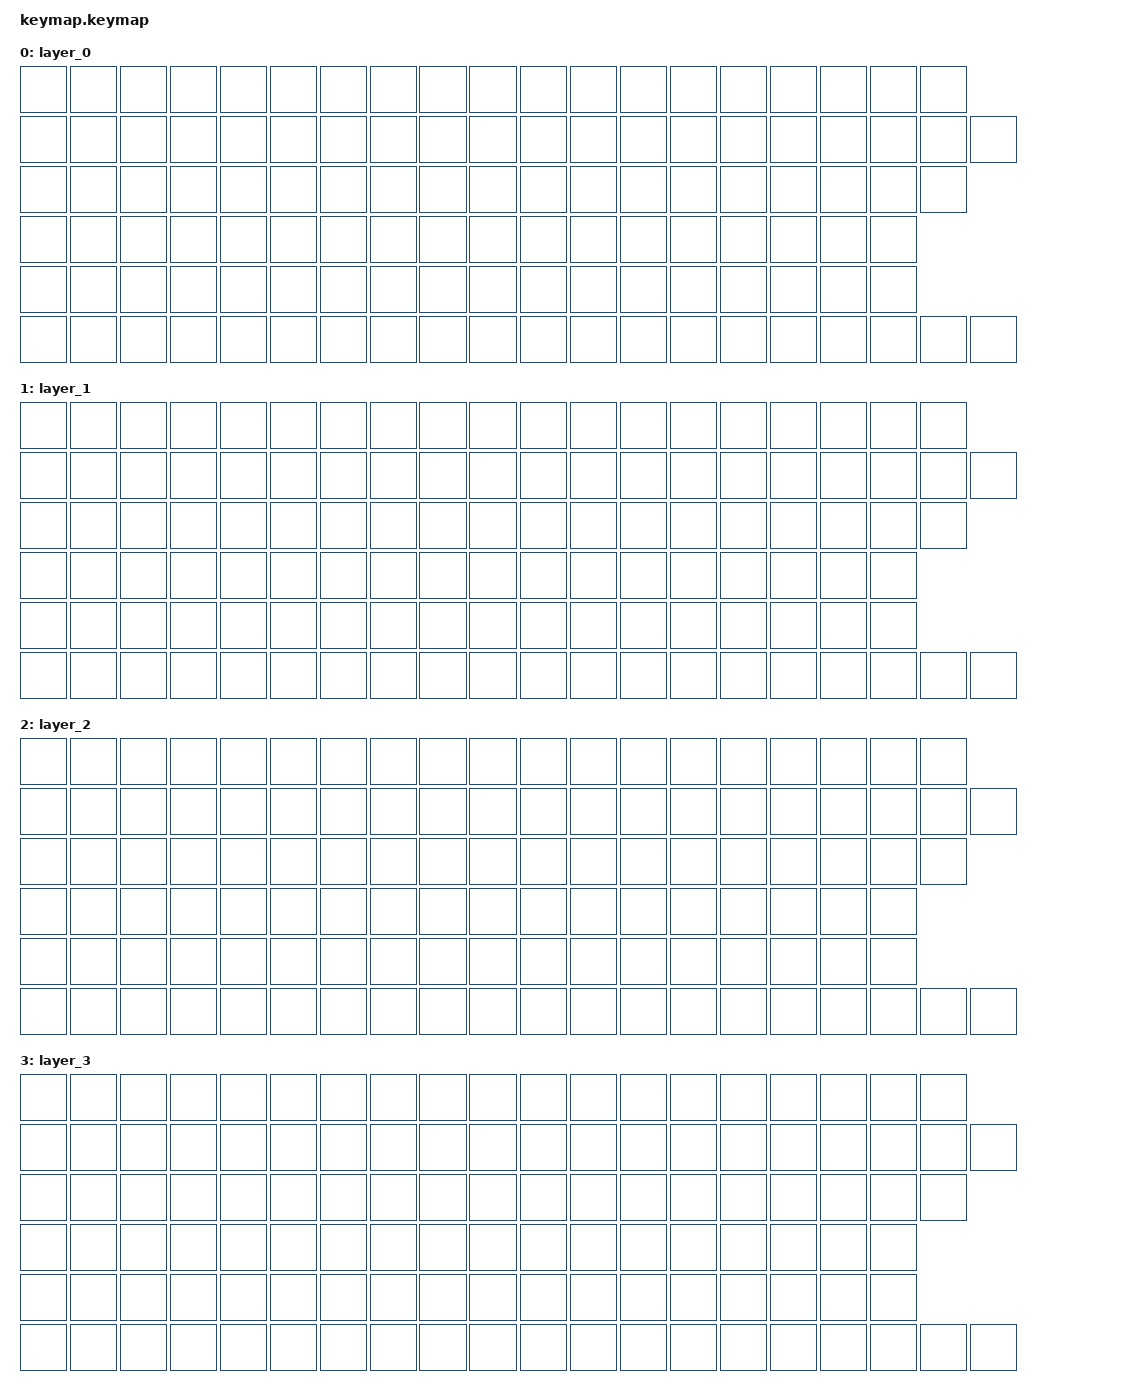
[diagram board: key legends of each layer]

#include <behaviors.dtsi>
#include <dt-bindings/zmk/keys.h>

/ {
    keymap {
        compatible = "zmk,keymap";

        layer_0 {
            bindings =<
                &none &none &none &none &none &none &none &none &none &none &none &none &none &none &none &none &none &none &none
				&none &none &none &none &none &none &none &none &none &none &none &none &none &none &none &none &none &none &none &none
				&none &none &none &none &none &none &none &none &none &none &none &none &none &none &none &none &none &none &none
				&none &none &none &none &none &none &none &none &none &none &none &none &none &none &none &none &none &none
				&none &none &none &none &none &none &none &none &none &none &none &none &none &none &none &none &none &none
				&none &none &none &none &none &none &none &none &none &none &none &none &none &none &none &none &none &none &none &none
            >;
        };

        layer_1 {
            bindings =<
                &none &none &none &none &none &none &none &none &none &none &none &none &none &none &none &none &none &none &none
				&none &none &none &none &none &none &none &none &none &none &none &none &none &none &none &none &none &none &none &none
				&none &none &none &none &none &none &none &none &none &none &none &none &none &none &none &none &none &none &none
				&none &none &none &none &none &none &none &none &none &none &none &none &none &none &none &none &none &none
				&none &none &none &none &none &none &none &none &none &none &none &none &none &none &none &none &none &none
				&none &none &none &none &none &none &none &none &none &none &none &none &none &none &none &none &none &none &none &none
            >;
        };

        layer_2 {
            bindings =<
                &none &none &none &none &none &none &none &none &none &none &none &none &none &none &none &none &none &none &none
				&none &none &none &none &none &none &none &none &none &none &none &none &none &none &none &none &none &none &none &none
				&none &none &none &none &none &none &none &none &none &none &none &none &none &none &none &none &none &none &none
				&none &none &none &none &none &none &none &none &none &none &none &none &none &none &none &none &none &none
				&none &none &none &none &none &none &none &none &none &none &none &none &none &none &none &none &none &none
				&none &none &none &none &none &none &none &none &none &none &none &none &none &none &none &none &none &none &none &none
            >;
        };

        layer_3 {
            bindings =<
                &none &none &none &none &none &none &none &none &none &none &none &none &none &none &none &none &none &none &none
				&none &none &none &none &none &none &none &none &none &none &none &none &none &none &none &none &none &none &none &none
				&none &none &none &none &none &none &none &none &none &none &none &none &none &none &none &none &none &none &none
				&none &none &none &none &none &none &none &none &none &none &none &none &none &none &none &none &none &none
				&none &none &none &none &none &none &none &none &none &none &none &none &none &none &none &none &none &none
				&none &none &none &none &none &none &none &none &none &none &none &none &none &none &none &none &none &none &none &none
            >;
        };
    };
};
